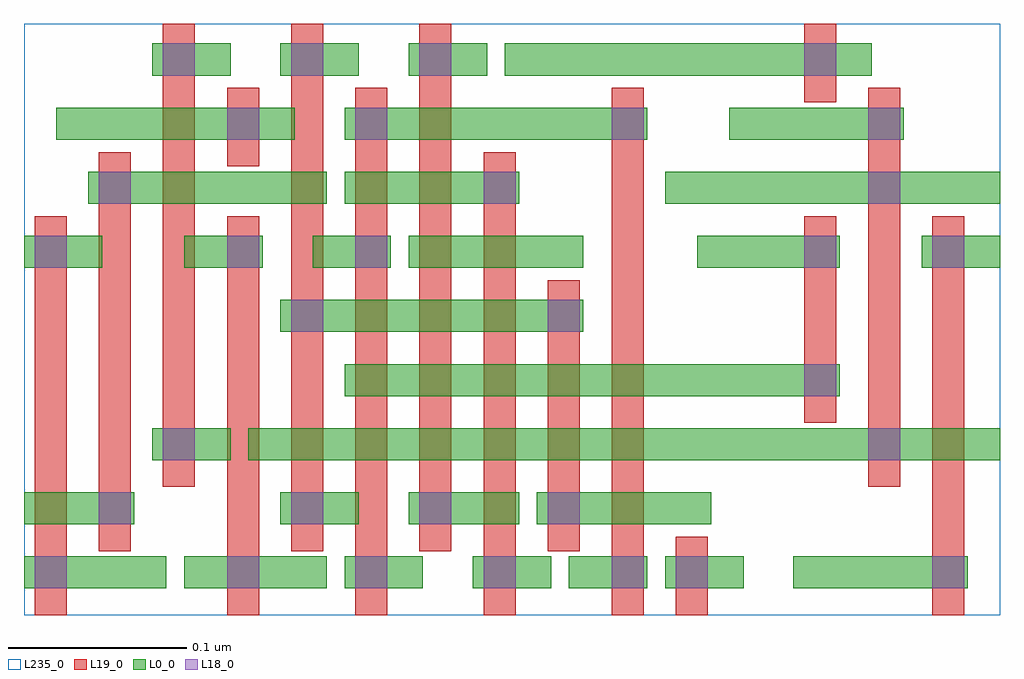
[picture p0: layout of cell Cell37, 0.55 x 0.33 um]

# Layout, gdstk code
import gdstk
lib = gdstk.Library(unit=1e-6, precision=2.5e-10)
def R(c, l, rs):  # rectangles x0, y0, x1, y1
    for r in rs: c.add(gdstk.rectangle(r[:2], r[2:], *l))
def A(c, l, x, y, w, h, nx, ny, dx, dy):  # array of equal rectangles
    R(c, l, [(x+i*dx, y+j*dy, x+i*dx+w, y+j*dy+h) for i in range(nx) for j in range(ny)])
L0_0 = (0, 0)
L18_0 = (18, 0)
L19_0 = (19, 0)
L235_0 = (235, 0)

cell37 = lib.new_cell('Cell37')
A(cell37, L0_0, 0.256, -0.001, 0.044, 0.018, 3, 1, 0.054, 0)
A(cell37, L0_0, 0.076, 0.287, 0.044, 0.018, 3, 1, 0.072, 0)
R(cell37, L0_0, [(0.004,-0.001,0.084,0.017), (0.094,-0.001,0.174,0.017), (0.184,-0.001,0.228,0.017), (0.436,-0.001,0.534,0.017), (0.004,0.035,0.066,0.053), (0.148,0.035,0.192,0.053), (0.22,0.035,0.282,0.053), (0.292,0.035,0.39,0.053), (0.076,0.071,0.12,0.089), (0.13,0.071,0.552,0.089), (0.184,0.107,0.462,0.125), (0.148,0.143,0.318,0.161), (0.004,0.179,0.048,0.197), (0.094,0.179,0.138,0.197), (0.166,0.179,0.21,0.197), (0.22,0.179,0.318,0.197), (0.382,0.179,0.462,0.197), (0.508,0.179,0.552,0.197), (0.04,0.215,0.174,0.233), (0.184,0.215,0.282,0.233), (0.364,0.215,0.552,0.233), (0.022,0.251,0.156,0.269), (0.184,0.251,0.354,0.269), (0.4,0.251,0.498,0.269), (0.274,0.287,0.48,0.305)])
A(cell37, L18_0, 0.118, -0.001, 0.018, 0.018, 4, 1, 0.072, 0)
A(cell37, L18_0, 0.154, 0.035, 0.018, 0.018, 3, 1, 0.072, 0)
A(cell37, L18_0, 0.046, 0.215, 0.018, 0.018, 3, 1, 0.216, 0)
A(cell37, L18_0, 0.19, 0.251, 0.018, 0.018, 3, 1, 0.144, 0)
A(cell37, L18_0, 0.082, 0.287, 0.018, 0.018, 3, 1, 0.072, 0)
R(cell37, L18_0, [(0.01,-0.001,0.028,0.017), (0.37,-0.001,0.388,0.017), (0.514,-0.001,0.532,0.017), (0.046,0.035,0.064,0.053), (0.082,0.071,0.1,0.089), (0.478,0.071,0.496,0.089), (0.442,0.107,0.46,0.125), (0.154,0.143,0.172,0.161), (0.298,0.143,0.316,0.161), (0.01,0.179,0.028,0.197), (0.118,0.179,0.136,0.197), (0.19,0.179,0.208,0.197), (0.442,0.179,0.46,0.197), (0.514,0.179,0.532,0.197), (0.118,0.251,0.136,0.269), (0.442,0.287,0.46,0.305)])
R(cell37, L19_0, [(0.01,-0.016,0.028,0.208), (0.118,-0.016,0.136,0.208), (0.19,-0.016,0.208,0.28), (0.262,-0.016,0.28,0.244), (0.334,-0.016,0.352,0.28), (0.37,-0.016,0.388,0.028), (0.514,-0.016,0.532,0.208), (0.046,0.02,0.064,0.244), (0.154,0.02,0.172,0.316), (0.226,0.02,0.244,0.316), (0.298,0.02,0.316,0.172), (0.082,0.056,0.1,0.316), (0.478,0.056,0.496,0.28), (0.442,0.092,0.46,0.208), (0.118,0.236,0.136,0.28), (0.442,0.272,0.46,0.316)])
R(cell37, L235_0, [(0.004,-0.016,0.552,0.316)])

lib.write_gds('Cell37.gds')
